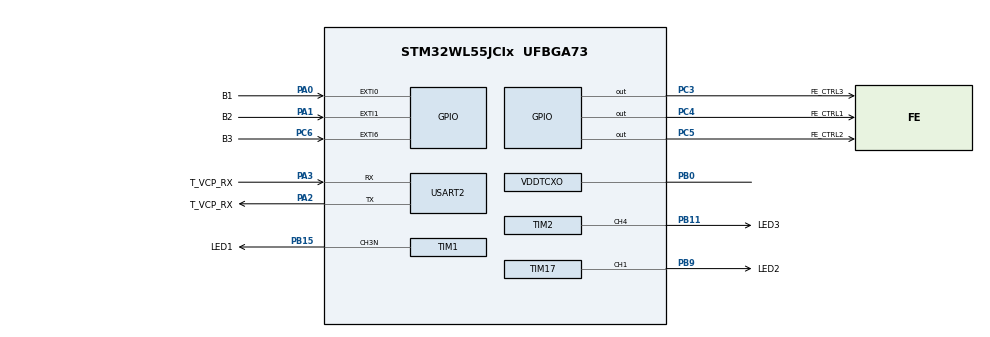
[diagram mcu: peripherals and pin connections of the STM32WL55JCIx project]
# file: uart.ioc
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Mcu.Family=STM32WL
Mcu.Name=STM32WL55JCIx
Mcu.Package=UFBGA73
NVIC.PriorityGroup=NVIC_PRIORITYGROUP_4
NVIC.USART2_IRQn=true\:0\:0\:false\:false\:true\:true\:true\:true
OSC_IN.Mode=HSE-TCXO
OSC_IN.Signal=RCC_OSC_IN
PA0.GPIO_Label=B1
PA0.GPIO_ModeDefaultEXTI=GPIO_MODE_IT_FALLING
PA0.GPIO_PuPd=GPIO_PULLUP
PA0.Signal=GPXTI0
PA1.GPIO_Label=B2
PA1.GPIO_ModeDefaultEXTI=GPIO_MODE_IT_FALLING
PA1.GPIO_PuPd=GPIO_PULLUP
PA1.Signal=GPXTI1
PA13.Mode=Serial_Wire
PA13.Signal=DEBUG_JTMS-SWDIO
PA14.Mode=Serial_Wire
PA14.Signal=DEBUG_JTCK-SWCLK
PA2.GPIO_Label=T_VCP_RX
PA2.Mode=Asynchronous
PA2.Signal=USART2_TX
PA3.GPIO_Label=T_VCP_RX
PA3.Mode=Asynchronous
PA3.Signal=USART2_RX
PB0-VDD_TCXO.Mode=HSE-TCXO
PB0-VDD_TCXO.Signal=VDDTCXO
PB11.GPIO_Label=LED3
PB11.Signal=S_TIM2_CH4
PB15.GPIO_Label=LED1
PB15.Mode=PWM Generation3 CH3N
PB15.Signal=TIM1_CH3N
PB9.GPIO_Label=LED2
PB9.Signal=S_TIM17_CH1
PC14-OSC32_IN.Mode=LSE-External-Oscillator
PC14-OSC32_IN.Signal=RCC_OSC32_IN
PC15-OSC32_OUT.Mode=LSE-External-Oscillator
PC15-OSC32_OUT.Signal=RCC_OSC32_OUT
PC3.GPIO_Label=FE_CTRL3
PC3.GPIO_Speed=GPIO_SPEED_FREQ_VERY_HIGH
PC3.Signal=GPIO_Output
PC4.GPIO_Label=FE_CTRL1
PC4.GPIO_Speed=GPIO_SPEED_FREQ_VERY_HIGH
PC4.Signal=GPIO_Output
PC5.GPIO_Label=FE_CTRL2
PC5.GPIO_Speed=GPIO_SPEED_FREQ_VERY_HIGH
PC5.Signal=GPIO_Output
PC6.GPIO_Label=B3
PC6.GPIO_ModeDefaultEXTI=GPIO_MODE_IT_FALLING
PC6.GPIO_PuPd=GPIO_PULLUP
PC6.Signal=GPXTI6
ProjectManager.HeapSize=0x200
ProjectManager.StackSize=0x400
ProjectManager.TargetToolchain=STM32CubeIDE
RCC.HSE_VALUE=32000000
RCC.HSI_VALUE=16000000
RCC.LSE_VALUE=32768
RCC.VCOOutputFreq_Value=32000000
SH.S_TIM17_CH1.0=TIM17_CH1,PWM Generation1 CH1
SH.S_TIM2_CH4.0=TIM2_CH4,PWM Generation4 CH4
TIM1.Channel-PWM\ Generation3\ CH3N=TIM_CHANNEL_3
TIM17.Channel=TIM_CHANNEL_1
TIM2.Channel-PWM\ Generation4\ CH4=TIM_CHANNEL_4
TIM2.Period=65535
TIM2.Pulse-PWM\ Generation4\ CH4=0
USART2.VirtualMode-Asynchronous=VM_ASYNC
VP_TIM17_VS_ClockSourceINT.Mode=Enable_Timer
board=NUCLEO-WL55JC1

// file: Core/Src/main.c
/* USER CODE BEGIN Header */
/**
  ******************************************************************************
  * @file           : main.c
  * @brief          : Main program body
  ******************************************************************************
  * @attention
  *
  * Copyright (c) 2023 STMicroelectronics.
  * All rights reserved.
  *
  * This software is licensed under terms that can be found in the LICENSE file
  * in the root directory of this software component.
  * If no LICENSE file comes with this software, it is provided AS-IS.
  *
  ******************************************************************************
  */
/* USER CODE END Header */
#include "main.h"
#include "tim.h"
#include "usart.h"
#include "gpio.h"

/* USER CODE BEGIN Includes */
#include "stdlib.h"
/* USER CODE END Includes */

void SystemClock_Config(void);

/* USER CODE BEGIN 0 */
uint8_t rx_buff[4] = { '0' };
/* USER CODE END 0 */

int main(void)
{

  /* MCU Configuration--------------------------------------------------------*/

  /* Reset of all peripherals, Initializes the Flash interface and the Systick. */
  HAL_Init();

  /* Configure the system clock */
  SystemClock_Config();

  /* Initialize all configured peripherals */
  MX_GPIO_Init();
  MX_USART2_UART_Init();
  MX_TIM1_Init();
  MX_TIM2_Init();
  MX_TIM17_Init();
  /* USER CODE BEGIN 2 */
  HAL_TIMEx_PWMN_Start(&htim1, TIM_CHANNEL_3);
  HAL_TIM_PWM_Start(&htim2, TIM_CHANNEL_4);
  HAL_TIM_PWM_Start(&htim17, TIM_CHANNEL_1);
  /* USER CODE END 2 */

  /* Infinite loop */
  /* USER CODE BEGIN WHILE */
  HAL_UART_Receive_IT(&huart2, (uint8_t *)rx_buff, 4);
  while (1)
  {
    /* USER CODE END WHILE */

  }
}

void SystemClock_Config(void)
{
  RCC_OscInitTypeDef RCC_OscInitStruct = {0};
  RCC_ClkInitTypeDef RCC_ClkInitStruct = {0};

  /** Configure LSE Drive Capability
  */
  HAL_PWR_EnableBkUpAccess();
  __HAL_RCC_LSEDRIVE_CONFIG(RCC_LSEDRIVE_LOW);

  /** Configure the main internal regulator output voltage
  */
  __HAL_PWR_VOLTAGESCALING_CONFIG(PWR_REGULATOR_VOLTAGE_SCALE2);

  /** Initializes the CPU, AHB and APB buses clocks
  */
  RCC_OscInitStruct.OscillatorType = RCC_OSCILLATORTYPE_LSE|RCC_OSCILLATORTYPE_MSI;
  RCC_OscInitStruct.LSEState = RCC_LSE_ON;
  RCC_OscInitStruct.MSIState = RCC_MSI_ON;
  RCC_OscInitStruct.MSICalibrationValue = RCC_MSICALIBRATION_DEFAULT;
  RCC_OscInitStruct.MSIClockRange = RCC_MSIRANGE_6;
  RCC_OscInitStruct.PLL.PLLState = RCC_PLL_NONE;
  if (HAL_RCC_OscConfig(&RCC_OscInitStruct) != HAL_OK)
  {
    Error_Handler();
  }

  /** Configure the SYSCLKSource, HCLK, PCLK1 and PCLK2 clocks dividers
  */
  RCC_ClkInitStruct.ClockType = RCC_CLOCKTYPE_HCLK3|RCC_CLOCKTYPE_HCLK
                              |RCC_CLOCKTYPE_SYSCLK|RCC_CLOCKTYPE_PCLK1
                              |RCC_CLOCKTYPE_PCLK2;
  RCC_ClkInitStruct.SYSCLKSource = RCC_SYSCLKSOURCE_MSI;
  RCC_ClkInitStruct.AHBCLKDivider = RCC_SYSCLK_DIV1;
  RCC_ClkInitStruct.APB1CLKDivider = RCC_HCLK_DIV1;
  RCC_ClkInitStruct.APB2CLKDivider = RCC_HCLK_DIV1;
  RCC_ClkInitStruct.AHBCLK3Divider = RCC_SYSCLK_DIV1;

  if (HAL_RCC_ClockConfig(&RCC_ClkInitStruct, FLASH_LATENCY_0) != HAL_OK)
  {
    Error_Handler();
  }
}

/* USER CODE BEGIN 4 */
void HAL_UART_RxCpltCallback(UART_HandleTypeDef *huart)
{
  switch (rx_buff[0])
  {
    case '1':
	  TIM1->CCR3 = atoi((uint8_t *)rx_buff + 1) * UINT16_MAX / 100;
	  break;
    case '2':
	  TIM17->CCR1 = atoi((uint8_t *)rx_buff + 1) * UINT16_MAX / 100;
	  break;
    case '3':
	  TIM2->CCR4 = atoi((uint8_t *)rx_buff + 1) * UINT16_MAX / 100;
	  break;
    default:
	  break;
  }

  HAL_UART_Receive_IT(&huart2, (uint8_t *)rx_buff, 4);
}
/* USER CODE END 4 */

void Error_Handler(void)
{
  __disable_irq();
  while (1)
  {
  }
}
